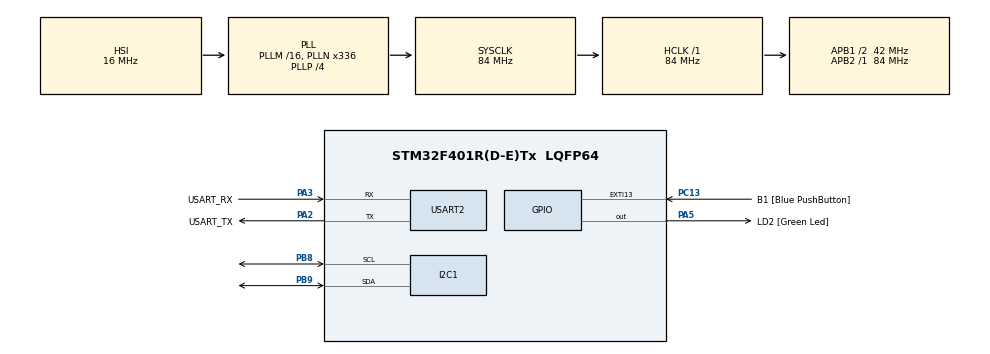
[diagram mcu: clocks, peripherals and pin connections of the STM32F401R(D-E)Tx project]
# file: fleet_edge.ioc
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Mcu.Family=STM32F4
Mcu.Name=STM32F401R(D-E)Tx
Mcu.Package=LQFP64
NVIC.PriorityGroup=NVIC_PRIORITYGROUP_4
PA13.GPIO_Label=TMS
PA13.Mode=Trace_Asynchronous_SW
PA13.Signal=SYS_JTMS-SWDIO
PA14.GPIO_Label=TCK
PA14.Mode=Trace_Asynchronous_SW
PA14.Signal=SYS_JTCK-SWCLK
PA2.GPIO_Label=USART_TX
PA2.GPIO_Mode=GPIO_MODE_AF_PP
PA2.GPIO_PuPd=GPIO_NOPULL
PA2.GPIO_Speed=GPIO_SPEED_FREQ_LOW
PA2.Mode=Asynchronous
PA2.Signal=USART2_TX
PA3.GPIO_Label=USART_RX
PA3.GPIO_Mode=GPIO_MODE_AF_PP
PA3.GPIO_PuPd=GPIO_NOPULL
PA3.GPIO_Speed=GPIO_SPEED_FREQ_LOW
PA3.Mode=Asynchronous
PA3.Signal=USART2_RX
PA5.GPIO_Label=LD2 [Green Led]
PA5.GPIO_Mode=GPIO_MODE_OUTPUT_PP
PA5.GPIO_PuPd=GPIO_NOPULL
PA5.GPIO_Speed=GPIO_SPEED_FREQ_LOW
PA5.Signal=GPIO_Output
PB3.GPIO_Label=SWO
PB3.Mode=Trace_Asynchronous_SW
PB3.Signal=SYS_JTDO-SWO
PB8.Mode=I2C
PB8.Signal=I2C1_SCL
PB9.Mode=I2C
PB9.Signal=I2C1_SDA
PC13-ANTI_TAMP.GPIO_Label=B1 [Blue PushButton]
PC13-ANTI_TAMP.GPIO_ModeDefaultEXTI=GPIO_MODE_IT_FALLING
PC13-ANTI_TAMP.GPIO_PuPd=GPIO_NOPULL
PC13-ANTI_TAMP.Signal=GPXTI13
PC14-OSC32_IN.Mode=LSE-External-Oscillator
PC14-OSC32_IN.Signal=RCC_OSC32_IN
PC15-OSC32_OUT.Mode=LSE-External-Oscillator
PC15-OSC32_OUT.Signal=RCC_OSC32_OUT
PH0\ -\ OSC_IN.Mode=HSE-External-Clock-Source
PH0\ -\ OSC_IN.Signal=RCC_OSC_IN
PH1\ -\ OSC_OUT.Mode=HSE-External-Clock-Source
PH1\ -\ OSC_OUT.Signal=RCC_OSC_OUT
ProjectManager.HeapSize=0x200
ProjectManager.StackSize=0x400
ProjectManager.TargetToolchain=STM32CubeIDE
RCC.48MHZClocksFreq_Value=48000000
RCC.AHBFreq_Value=84000000
RCC.APB1CLKDivider=RCC_HCLK_DIV2
RCC.APB1Freq_Value=42000000
RCC.APB1TimFreq_Value=84000000
RCC.APB2Freq_Value=84000000
RCC.APB2TimFreq_Value=84000000
RCC.CortexFreq_Value=84000000
RCC.HCLKFreq_Value=84000000
RCC.HSE_VALUE=8000000
RCC.HSI_VALUE=16000000
RCC.PLLN=336
RCC.PLLP=RCC_PLLP_DIV4
RCC.PLLQ=7
RCC.SYSCLKFreq_VALUE=84000000
RCC.SYSCLKSource=RCC_SYSCLKSOURCE_PLLCLK
RCC.VCOOutputFreq_Value=336000000
USART2.VirtualMode=VM_ASYNC
board=NUCLEO-F401RE

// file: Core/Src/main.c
/* USER CODE BEGIN Header */
/**
  ******************************************************************************
  * @file           : main.c
  * @brief          : Main program body
  ******************************************************************************
  * @attention
  *
  * Copyright (c) 2026 STMicroelectronics.
  * All rights reserved.
  *
  * This software is licensed under terms that can be found in the LICENSE file
  * in the root directory of this software component.
  * If no LICENSE file comes with this software, it is provided AS-IS.
  *
  ******************************************************************************
  */
/* USER CODE END Header */
#include "main.h"

/* USER CODE BEGIN Includes */
#include "bme280.h"   /* vendored BME280 driver: NVM calib + Bosch compensation */
/* USER CODE END Includes */

/* USER CODE BEGIN PD */
/* The "MPU-6050" GY-521 breakout is actually populated with an MPU-6500
   (WHO_AM_I reads 0x70, not the 6050's 0x68) - a common substitution on
   cheap modules. The MPU-6500 is register-map compatible for everything we
   do: same 7-bit address (0x68), same PWR_MGMT_1 sleep bit, and identical
   accel/gyro sensitivity scale factors, so the sampling/conversion code is
   unchanged. (The two parts' on-die temperature formulas differ, but that
   doesn't affect us - telemetry temperature comes from the BME280, not the
   IMU.) */
#define MPU6500_I2C_ADDR    (0x68 << 1)  /* 7-bit 0x68, HAL wants it << 1 */
#define MPU6500_REG_WHOAMI  0x75U
#define MPU6500_WHOAMI_ID   0x70U        /* MPU-6500 (an MPU-6050 reads 0x68) */
#define MPU6500_I2C_TIMEOUT 100U         /* ms */
#define MPU6500_REG_PWR_MGMT_1   0x6BU   /* write 0x00 to clear SLEEP on boot */
#define MPU6500_REG_ACCEL_XOUT_H 0x3BU   /* first of the 14 burst data bytes */
#define MPU6500_BURST_LEN        14U     /* accel(6) + temp(2) + gyro(6) */
#define MPU6500_ACCEL_SENS       16384.0f/* LSB per g,   default +/-2 g   range */
#define MPU6500_GYRO_SENS        131.0f  /* LSB per dps, default +/-250 dps range */
/* On-chip Digital Low-Pass Filter config. Left at reset defaults the gyro runs
   at ~250 Hz bandwidth and passes all its broadband noise straight through; at
   our 10 Hz telemetry rate we want none of that. Writing CONFIG selects a
   ~41 Hz gyro cutoff and ACCEL_CONFIG2 a ~44 Hz accel cutoff. (DLPF is enabled
   only while FCHOICE_B = 0, which is the reset state of GYRO_CONFIG, so we don't
   touch that register.) */
#define MPU6500_REG_CONFIG        0x1AU  /* gyro/temp DLPF_CFG in bits [2:0] */
#define MPU6500_REG_ACCEL_CONFIG2 0x1DU  /* accel A_DLPF_CFG in bits [2:0] */
#define MPU6500_DLPF_CFG_41HZ     0x03U  /* gyro  DLPF ~41 Hz */
#define MPU6500_ADLPF_CFG_44HZ    0x03U  /* accel DLPF ~44 Hz */
/* Gyro zero-rate calibration: samples averaged at boot while the board is still. */
#define MPU6500_GYRO_CAL_SAMPLES  200U
/* Sanity bound on the computed bias: a real zero-rate offset is only a few dps,
   so anything past ~20 dps of raw counts means the average was contaminated
   (motion, or a start-up transient railing an axis). Reject it and leave that
   axis uncorrected rather than baking in garbage. 20 dps * 131 LSB/dps ~= 2620. */
#define MPU6500_GYRO_BIAS_MAX_CNT 2620

/* BME280 chip-ID sanity check: genuine BME280 reports 0x60 in its id register.
   A BMP280 reports 0x58 and has NO humidity sensor, so it would silently break
   the humidity telemetry field - verify the part before trusting it. */
#define BME280_I2C_ADDR     (0x76 << 1)  /* 7-bit 0x76, HAL wants it << 1 */
#define BME280_REG_ID       0xD0U
#define BME280_CHIP_ID      0x60U        /* BME280 (a BMP280 reads 0x58) */
#define BME280_I2C_TIMEOUT  100U         /* ms */

/* --- Sampling + telemetry (Chunks 7-8) -------------------------------------*/
#define SAMPLE_PERIOD_MS       100U   /* default sampling cadence (10 Hz); OTA-tunable at runtime */
#define SAMPLE_HZ_MIN          1U     /* accepted set_rate bounds -> period 20..1000 ms */
#define SAMPLE_HZ_MAX          50U
#define HEARTBEAT_LED_MS       500U   /* LD2 blink half-period, independent of sampling */
#define HEARTBEAT_MSG_MS       5000U  /* "I'm alive" telemetry line interval (liveness) */
#define TELEMETRY_UART_TIMEOUT 100U   /* ms to push one JSON line over UART */
#define TELEMETRY_LINE_MAX     200U   /* max bytes in one JSON telemetry line */
#define DEVICE_ID              "fleet-edge-01"   /* this node's stable fleet identity */
/* USER CODE END PD */

I2C_HandleTypeDef hi2c1;

UART_HandleTypeDef huart2;

/* USER CODE BEGIN PV */
/* Latest IMU sample. File-scope (not locals in main) so the debugger's Live
   Expressions can resolve them while the target is running - a stack local has
   no fixed address to read live. volatile keeps each new sample from being
   optimized away before the JSON telemetry chunk consumes it. */
volatile int16_t ax, ay, az, gx, gy, gz;      /* raw signed 16-bit counts */
volatile float   ax_g, ay_g, az_g;            /* acceleration, g */
volatile float   gx_dps, gy_dps, gz_dps;      /* angular rate, deg/s */
volatile int16_t gx_off, gy_off, gz_off;      /* gyro zero-rate bias, raw counts */
volatile uint32_t seq;                        /* monotonic telemetry sequence number */

/* Latest BME280 environmental sample, in engineering units. File-scope for the
   same Live Expressions reason as the IMU globals above. The driver's per-chip
   calibration lives in bme280 (filled once at init), not here. */
BME280_t bme280;
volatile float temp_c;      /* degrees Celsius */
volatile float pressure_hpa;/* hectopascals (== mbar) */
volatile float humidity_pct;/* %RH */

/* OTA downlink command state. The RX ISR assembles a line and hands it to the main loop via
   cmd_pending; the loop parses, applies, and acks (parsing stays out of interrupt context). */
volatile uint32_t cmd_rx_lines;   /* complete commands received */
volatile uint32_t cmd_applied;    /* commands parsed + applied */
volatile uint8_t  cmd_pending;    /* 1 = cmd_line holds a line awaiting the main loop */
char cmd_line[96];                /* ISR -> main handoff: the pending command line */
volatile uint32_t sample_period_ms = SAMPLE_PERIOD_MS;  /* live sample/telemetry period, set by set_rate */
/* USER CODE END PV */

void SystemClock_Config(void);
static void MX_GPIO_Init(void);
static void MX_USART2_UART_Init(void);
static void MX_I2C1_Init(void);
/* USER CODE BEGIN PFP */
void Cmd_RxByte(uint8_t b);          /* USART2 ISR -> assemble one downlink line */
static void Cmd_Apply(const char *line);  /* main loop -> parse + apply + ack */
/* USER CODE END PFP */

/* USER CODE BEGIN 0 */
#include <stdio.h>   /* snprintf */
#include <string.h>  /* strstr, strlen, memcpy */
#include <stdlib.h>  /* strtol */

/* Recover a wedged I2C bus. After a WARM reset (debugger restart / reset button)
   the STM32 restarts but the sensors do not; one left mid-transfer can keep
   holding SDA low, jamming the bus so every HAL read times out (this is the
   startup hang we hit). The standard fix: drive SCL manually as a GPIO and clock
   out up to 9 pulses until the slave releases SDA, issue a STOP, then re-init the
   peripheral. PB8 = SCL, PB9 = SDA (see HAL_I2C_MspInit). */
static void I2C1_BusRecover(void)
{
  GPIO_InitTypeDef gpio = {0};

  HAL_I2C_DeInit(&hi2c1);            /* hand PB8/PB9 back from the I2C peripheral */
  __HAL_RCC_GPIOB_CLK_ENABLE();

  gpio.Mode  = GPIO_MODE_OUTPUT_OD;  /* open-drain, like a real I2C line */
  gpio.Pull  = GPIO_NOPULL;          /* the sensor modules carry the pull-ups */
  gpio.Speed = GPIO_SPEED_FREQ_LOW;
  gpio.Pin   = GPIO_PIN_8 | GPIO_PIN_9;
  HAL_GPIO_Init(GPIOB, &gpio);
  HAL_GPIO_WritePin(GPIOB, GPIO_PIN_8 | GPIO_PIN_9, GPIO_PIN_SET); /* idle high */

  /* Pulse SCL until SDA is released (max 9 = one byte + ack). */
  for (int i = 0; i < 9 && HAL_GPIO_ReadPin(GPIOB, GPIO_PIN_9) == GPIO_PIN_RESET; i++)
  {
    HAL_GPIO_WritePin(GPIOB, GPIO_PIN_8, GPIO_PIN_RESET);
    HAL_Delay(1);
    HAL_GPIO_WritePin(GPIOB, GPIO_PIN_8, GPIO_PIN_SET);
    HAL_Delay(1);
  }

  /* Generate a STOP: SDA rises while SCL is high. */
  HAL_GPIO_WritePin(GPIOB, GPIO_PIN_9, GPIO_PIN_RESET);
  HAL_Delay(1);
  HAL_GPIO_WritePin(GPIOB, GPIO_PIN_8, GPIO_PIN_SET);
  HAL_Delay(1);
  HAL_GPIO_WritePin(GPIOB, GPIO_PIN_9, GPIO_PIN_SET);
  HAL_Delay(1);

  MX_I2C1_Init();                    /* re-init peripheral; restores PB8/PB9 to AF */
}

/* Format a float as a fixed-decimal string WITHOUT floating-point printf.
   newlib-nano omits %f by default (and pulling it in bloats a constrained MCU),
   so we split the value into an integer part and a zero-padded fractional part
   and print those with plain %ld. Returns bytes written (snprintf semantics). */
static int fmt_fixed(char *buf, size_t n, float v, int decimals)
{
  int neg = (v < 0.0f);
  if (neg) { v = -v; }
  int32_t mul = 1;
  for (int i = 0; i < decimals; i++) { mul *= 10; }
  int32_t scaled = (int32_t)(v * (float)mul + 0.5f);   /* round to N decimals */
  int32_t whole  = scaled / mul;
  int32_t frac   = scaled % mul;
  return snprintf(buf, n, "%s%ld.%0*ld", neg ? "-" : "", (long)whole, decimals, (long)frac);
}

/* Frame the latest sample as ONE newline-delimited JSON object and push it over
   UART. Newline-delimited JSON (NDJSON) = one complete JSON value per line, '\n'
   as the record separator - so the gateway can split the stream on newlines and
   know each line is a whole message. */
static void Telemetry_Emit(void)
{
  char line[TELEMETRY_LINE_MAX];
  char st[12], sh[12], sp[12];                 /* temp, humidity, pressure */
  char sax[12], say[12], saz[12];              /* accel, g */
  char sgx[12], sgy[12], sgz[12];              /* gyro, dps */

  fmt_fixed(st,  sizeof st,  temp_c,       2);
  fmt_fixed(sh,  sizeof sh,  humidity_pct, 2);
  fmt_fixed(sp,  sizeof sp,  pressure_hpa, 2);
  fmt_fixed(sax, sizeof sax, ax_g, 3);
  fmt_fixed(say, sizeof say, ay_g, 3);
  fmt_fixed(saz, sizeof saz, az_g, 3);
  fmt_fixed(sgx, sizeof sgx, gx_dps, 2);
  fmt_fixed(sgy, sizeof sgy, gy_dps, 2);
  fmt_fixed(sgz, sizeof sgz, gz_dps, 2);

  int len = snprintf(line, sizeof line,
      "{\"id\":\"%s\",\"type\":\"telemetry\",\"seq\":%lu,\"ts\":%lu,"
      "\"temp\":%s,\"humidity\":%s,\"pressure\":%s,"
      "\"ax\":%s,\"ay\":%s,\"az\":%s,"
      "\"gx\":%s,\"gy\":%s,\"gz\":%s}\r\n",
      DEVICE_ID, (unsigned long)seq, (unsigned long)HAL_GetTick(),
      st, sh, sp, sax, say, saz, sgx, sgy, sgz);

  if (len > 0)
  {
    HAL_UART_Transmit(&huart2, (uint8_t *)line, (uint16_t)len, TELEMETRY_UART_TIMEOUT);
    seq++;   /* advance only after a line is framed (monotonic per message) */
  }
}

/* Emit a heartbeat line: a payload-free "I'm alive" message on its own fixed
   cadence. It shares the monotonic seq with telemetry (so any gap in the merged
   stream = a lost line) and carries the uptime (ts). Its job is liveness that is
   independent of sensor data - if telemetry stalls but heartbeats keep coming,
   the device and link are fine and the fault is upstream in the sensor path. */
static void Heartbeat_Emit(void)
{
  char line[TELEMETRY_LINE_MAX];
  int len = snprintf(line, sizeof line,
      "{\"id\":\"%s\",\"type\":\"heartbeat\",\"seq\":%lu,\"ts\":%lu}\r\n",
      DEVICE_ID, (unsigned long)seq, (unsigned long)HAL_GetTick());
  if (len > 0)
  {
    HAL_UART_Transmit(&huart2, (uint8_t *)line, (uint16_t)len, TELEMETRY_UART_TIMEOUT);
    seq++;
  }
}
/* USER CODE END 0 */

int main(void)
{

  /* USER CODE BEGIN 1 */
  uint8_t who_am_i = 0;              /* raw WHO_AM_I byte read back from the MPU */
  HAL_StatusTypeDef whoami_status;   /* result of the I2C read */
  uint8_t bme_id = 0;                /* raw chip-ID byte read back from the BME280 */
  HAL_StatusTypeDef bme_id_status;   /* result of the I2C read */
  uint8_t mpu_wake = 0x00;           /* value written to PWR_MGMT_1 to clear SLEEP */
  uint8_t mpu_dlpf;                  /* DLPF config byte written to CONFIG/ACCEL_CONFIG2 */
  int32_t gx_sum = 0, gy_sum = 0, gz_sum = 0; /* gyro-bias calibration accumulators */
  uint16_t gx_n = 0, gy_n = 0, gz_n = 0;      /* count of accepted (non-railed) samples */
  uint8_t imu_raw[MPU6500_BURST_LEN];/* one atomic burst: accel, temp, gyro */
  HAL_StatusTypeDef imu_status;      /* result of each sampling read */
  uint32_t last_sample = 0;          /* SysTick ms of the last sample tick */
  uint32_t last_led = 0;             /* SysTick ms of the last LED toggle */
  uint32_t last_hb = 0;              /* SysTick ms of the last heartbeat line */
  /* ax..gz and the g/dps outputs are file-scope globals (see PV) so Live
     Expressions can watch them while the target runs. */
  /* USER CODE END 1 */

  /* MCU Configuration--------------------------------------------------------*/

  /* Reset of all peripherals, Initializes the Flash interface and the Systick. */
  HAL_Init();

  /* Configure the system clock */
  SystemClock_Config();

  /* Initialize all configured peripherals */
  MX_GPIO_Init();
  MX_USART2_UART_Init();
  MX_I2C1_Init();
  /* USER CODE BEGIN 2 */
  /* Clear any bus lockup left by a warm reset before the first transaction. */
  I2C1_BusRecover();

  /* Read the MPU-6500 WHO_AM_I register as an I2C sanity check (expect 0x70). */
  whoami_status = HAL_I2C_Mem_Read(&hi2c1,
                                   MPU6500_I2C_ADDR,
                                   MPU6500_REG_WHOAMI,
                                   I2C_MEMADD_SIZE_8BIT,
                                   &who_am_i,
                                   1,
                                   MPU6500_I2C_TIMEOUT);
  if (whoami_status != HAL_OK || who_am_i != MPU6500_WHOAMI_ID)
  {
    Error_Handler();
  }

  /* Read the BME280 chip-ID register as an I2C sanity check (expect 0x60). */
  bme_id_status = HAL_I2C_Mem_Read(&hi2c1,
                                   BME280_I2C_ADDR,
                                   BME280_REG_ID,
                                   I2C_MEMADD_SIZE_8BIT,
                                   &bme_id,
                                   1,
                                   BME280_I2C_TIMEOUT);
  if (bme_id_status != HAL_OK || bme_id != BME280_CHIP_ID)
  {
    Error_Handler();
  }

  /* Wake the MPU-6500: on power-up SLEEP is set and the data registers never
     update. Writing 0x00 to PWR_MGMT_1 clears SLEEP and selects the internal
     clock. Must succeed, so fail closed like the ID checks. */
  if (HAL_I2C_Mem_Write(&hi2c1,
                        MPU6500_I2C_ADDR,
                        MPU6500_REG_PWR_MGMT_1,
                        I2C_MEMADD_SIZE_8BIT,
                        &mpu_wake,
                        1,
                        MPU6500_I2C_TIMEOUT) != HAL_OK)
  {
    Error_Handler();
  }

  /* Set the gyro/temp and accel Digital Low-Pass Filters. Without this the gyro
     runs wide-open (~250 Hz bandwidth) and dumps broadband noise into every
     sample; a ~41/44 Hz cutoff keeps the real (slow) motion and drops the
     high-frequency jitter. Fail closed like the ID checks. */
  mpu_dlpf = MPU6500_DLPF_CFG_41HZ;
  if (HAL_I2C_Mem_Write(&hi2c1, MPU6500_I2C_ADDR, MPU6500_REG_CONFIG,
                        I2C_MEMADD_SIZE_8BIT, &mpu_dlpf, 1,
                        MPU6500_I2C_TIMEOUT) != HAL_OK)
  {
    Error_Handler();
  }
  mpu_dlpf = MPU6500_ADLPF_CFG_44HZ;
  if (HAL_I2C_Mem_Write(&hi2c1, MPU6500_I2C_ADDR, MPU6500_REG_ACCEL_CONFIG2,
                        I2C_MEMADD_SIZE_8BIT, &mpu_dlpf, 1,
                        MPU6500_I2C_TIMEOUT) != HAL_OK)
  {
    Error_Handler();
  }

  /* Gyro zero-rate calibration. A MEMS gyro reads a nonzero constant even when
     perfectly still (the bias we saw as gx ~ 6.77 dps). With the board held
     still at boot, average a batch of samples per axis - that mean IS the bias -
     then subtract it from every later reading. Accel is left alone: gravity is
     its built-in reference.
     Two requirements for a clean offset: (1) the board must be MOTIONLESS for
     the whole window - any movement leaks into the mean; (2) let the gyro settle
     first, since it has a start-up transient right after wake/DLPF-config that
     would otherwise skew the early samples. */
  HAL_Delay(100);  /* let the gyro clear its power-on transient before sampling.
                      Note this does NOT remove the ~0.7 dps residual on gx: that's
                      thermal bias drift (we calibrate cold, the die then warms and
                      the bias creeps), which a one-shot boot calibration can't
                      track. Sub-1 dps at rest is a healthy stationary gyro. */
  for (uint16_t i = 0; i < MPU6500_GYRO_CAL_SAMPLES; i++)
  {
    if (HAL_I2C_Mem_Read(&hi2c1, MPU6500_I2C_ADDR, MPU6500_REG_ACCEL_XOUT_H,
                         I2C_MEMADD_SIZE_8BIT, imu_raw, MPU6500_BURST_LEN,
                         MPU6500_I2C_TIMEOUT) == HAL_OK)
    {
      int16_t rgx = (int16_t)((imu_raw[8]  << 8) | imu_raw[9]);
      int16_t rgy = (int16_t)((imu_raw[10] << 8) | imu_raw[11]);
      int16_t rgz = (int16_t)((imu_raw[12] << 8) | imu_raw[13]);
      /* Reject railed/outlier samples per axis BEFORE averaging: a real at-rest
         reading is well under the bias bound, so anything past it is a start-up
         transient or a bump, not bias. This is what let gy railing poison the
         old whole-window average and get the axis zeroed - now we just drop
         those samples and keep gy's true ~1 dps offset. */
      if (rgx < MPU6500_GYRO_BIAS_MAX_CNT && rgx > -MPU6500_GYRO_BIAS_MAX_CNT) { gx_sum += rgx; gx_n++; }
      if (rgy < MPU6500_GYRO_BIAS_MAX_CNT && rgy > -MPU6500_GYRO_BIAS_MAX_CNT) { gy_sum += rgy; gy_n++; }
      if (rgz < MPU6500_GYRO_BIAS_MAX_CNT && rgz > -MPU6500_GYRO_BIAS_MAX_CNT) { gz_sum += rgz; gz_n++; }
    }
    HAL_Delay(2);
  }
  /* Average only the accepted samples. If an axis had none (railed the whole
     window), fall back to no correction - a bad calibration is worse than none. */
  gx_off = gx_n ? (int16_t)(gx_sum / gx_n) : 0;
  gy_off = gy_n ? (int16_t)(gy_sum / gy_n) : 0;
  gz_off = gz_n ? (int16_t)(gz_sum / gz_n) : 0;

  /* Initialize the BME280 once: the driver reads the chip's factory NVM
     calibration and configures oversampling x1 + normal (continuous) mode.
     Unlike the MPU, we can't just scale raw counts - every BME is individually
     trimmed, so this calibration read is mandatory before any reading is valid.
     Fail closed like the ID checks. */
  if (BME280_Init(&bme280, &hi2c1, BME280_I2C_ADDR) != HAL_OK)
  {
    Error_Handler();
  }

  /* Raise the USART2 RXNE interrupt for the downlink. A bare RXNE handler (not HAL's
     IT-receive) so it never contends the handle lock with the polling telemetry TX. */
  __HAL_UART_ENABLE_IT(&huart2, UART_IT_RXNE);
  HAL_NVIC_SetPriority(USART2_IRQn, 5, 0);
  HAL_NVIC_EnableIRQ(USART2_IRQn);
  /* USER CODE END 2 */

  /* Infinite loop */
  while (1)
  {

    /* USER CODE BEGIN 3 */
    /* Non-blocking scheduler: instead of a HAL_Delay spin (which parks the CPU
       and makes timing drift with how long the body takes), we poll the SysTick
       millisecond counter (HAL_GetTick) and fire each task when its period is
       due. The (uint32_t) subtraction is wrap-around safe. */
    uint32_t now = HAL_GetTick();

    /* Apply any downlink command the RX ISR handed over. Done here, not in the ISR,
       so parsing and the blocking ack TX never run in interrupt context. */
    if (cmd_pending)
    {
      uint32_t prev_period = sample_period_ms;
      Cmd_Apply(cmd_line);
      cmd_pending = 0;                  /* release the buffer back to the ISR */
      if (sample_period_ms != prev_period)
        last_sample = now;             /* re-anchor so a rate change can't burst catch-up */
    }

    /* Heartbeat LED - a separate cadence so a stalled sensor read never freezes
       the "I'm alive" signal. */
    if ((uint32_t)(now - last_led) >= HEARTBEAT_LED_MS)
    {
      last_led += HEARTBEAT_LED_MS;
      HAL_GPIO_TogglePin(LD2_GPIO_Port, LD2_Pin);
    }

    /* Heartbeat line - its own cadence, independent of sampling, so it keeps
       proving liveness even if a sensor read stalls the telemetry path. */
    if ((uint32_t)(now - last_hb) >= HEARTBEAT_MSG_MS)
    {
      last_hb += HEARTBEAT_MSG_MS;
      Heartbeat_Emit();
    }

    /* Sampling at sample_period_ms (10 Hz default, live-tunable by set_rate). Advancing
       last_sample by exactly one period (not "= now") keeps the average rate locked to
       the tick, so it doesn't drift with body execution time. */
    if ((uint32_t)(now - last_sample) >= sample_period_ms)
    {
      last_sample += sample_period_ms;

      /* Sample the IMU: one 14-byte burst from ACCEL_XOUT_H (the MPU auto-
         increments its register pointer), split each high/low pair into a
         signed count, subtract the gyro bias, and scale to engineering units. */
      imu_status = HAL_I2C_Mem_Read(&hi2c1,
                                    MPU6500_I2C_ADDR,
                                    MPU6500_REG_ACCEL_XOUT_H,
                                    I2C_MEMADD_SIZE_8BIT,
                                    imu_raw,
                                    MPU6500_BURST_LEN,
                                    MPU6500_I2C_TIMEOUT);
      if (imu_status == HAL_OK)
      {
        ax = (int16_t)((imu_raw[0]  << 8) | imu_raw[1]);
        ay = (int16_t)((imu_raw[2]  << 8) | imu_raw[3]);
        az = (int16_t)((imu_raw[4]  << 8) | imu_raw[5]);
        /* imu_raw[6..7] = on-die temperature, unused (telemetry temp is BME280's). */
        gx = (int16_t)(((int16_t)((imu_raw[8]  << 8) | imu_raw[9]))  - gx_off);
        gy = (int16_t)(((int16_t)((imu_raw[10] << 8) | imu_raw[11])) - gy_off);
        gz = (int16_t)(((int16_t)((imu_raw[12] << 8) | imu_raw[13])) - gz_off);

        ax_g = ax / MPU6500_ACCEL_SENS;
        ay_g = ay / MPU6500_ACCEL_SENS;
        az_g = az / MPU6500_ACCEL_SENS;
        gx_dps = gx / MPU6500_GYRO_SENS;
        gy_dps = gy / MPU6500_GYRO_SENS;
        gz_dps = gz / MPU6500_GYRO_SENS;
      }
      /* A dropped sample leaves the previous values in place for now; proper
         error handling / degraded state lands in a later chunk. */

      /* Sample the BME280: the driver burst-reads the raw registers and runs the
         per-chip compensation, handing back real units. */
      float t, p, h;
      if (BME280_Read(&bme280, &t, &p, &h) == HAL_OK)
      {
        temp_c       = t;
        pressure_hpa = p;
        humidity_pct = h;
      }

      /* Frame this sample as one NDJSON line and stream it over UART. */
      Telemetry_Emit();
    }
  }
  /* USER CODE END 3 */
}

void SystemClock_Config(void)
{
  RCC_OscInitTypeDef RCC_OscInitStruct = {0};
  RCC_ClkInitTypeDef RCC_ClkInitStruct = {0};

  /** Configure the main internal regulator output voltage
  */
  __HAL_RCC_PWR_CLK_ENABLE();
  __HAL_PWR_VOLTAGESCALING_CONFIG(PWR_REGULATOR_VOLTAGE_SCALE2);

  /** Initializes the RCC Oscillators according to the specified parameters
  * in the RCC_OscInitTypeDef structure.
  */
  RCC_OscInitStruct.OscillatorType = RCC_OSCILLATORTYPE_HSI;
  RCC_OscInitStruct.HSIState = RCC_HSI_ON;
  RCC_OscInitStruct.HSICalibrationValue = RCC_HSICALIBRATION_DEFAULT;
  RCC_OscInitStruct.PLL.PLLState = RCC_PLL_ON;
  RCC_OscInitStruct.PLL.PLLSource = RCC_PLLSOURCE_HSI;
  RCC_OscInitStruct.PLL.PLLM = 16;
  RCC_OscInitStruct.PLL.PLLN = 336;
  RCC_OscInitStruct.PLL.PLLP = RCC_PLLP_DIV4;
  RCC_OscInitStruct.PLL.PLLQ = 7;
  if (HAL_RCC_OscConfig(&RCC_OscInitStruct) != HAL_OK)
  {
    Error_Handler();
  }

  /** Initializes the CPU, AHB and APB buses clocks
  */
  RCC_ClkInitStruct.ClockType = RCC_CLOCKTYPE_HCLK|RCC_CLOCKTYPE_SYSCLK
                              |RCC_CLOCKTYPE_PCLK1|RCC_CLOCKTYPE_PCLK2;
  RCC_ClkInitStruct.SYSCLKSource = RCC_SYSCLKSOURCE_PLLCLK;
  RCC_ClkInitStruct.AHBCLKDivider = RCC_SYSCLK_DIV1;
  RCC_ClkInitStruct.APB1CLKDivider = RCC_HCLK_DIV2;
  RCC_ClkInitStruct.APB2CLKDivider = RCC_HCLK_DIV1;

  if (HAL_RCC_ClockConfig(&RCC_ClkInitStruct, FLASH_LATENCY_2) != HAL_OK)
  {
    Error_Handler();
  }
}

static void MX_I2C1_Init(void)
{

  hi2c1.Instance = I2C1;
  hi2c1.Init.ClockSpeed = 100000;
  hi2c1.Init.DutyCycle = I2C_DUTYCYCLE_2;
  hi2c1.Init.OwnAddress1 = 0;
  hi2c1.Init.AddressingMode = I2C_ADDRESSINGMODE_7BIT;
  hi2c1.Init.DualAddressMode = I2C_DUALADDRESS_DISABLE;
  hi2c1.Init.OwnAddress2 = 0;
  hi2c1.Init.GeneralCallMode = I2C_GENERALCALL_DISABLE;
  hi2c1.Init.NoStretchMode = I2C_NOSTRETCH_DISABLE;
  if (HAL_I2C_Init(&hi2c1) != HAL_OK)
  {
    Error_Handler();
  }

}

static void MX_USART2_UART_Init(void)
{

  huart2.Instance = USART2;
  huart2.Init.BaudRate = 115200;
  huart2.Init.WordLength = UART_WORDLENGTH_8B;
  huart2.Init.StopBits = UART_STOPBITS_1;
  huart2.Init.Parity = UART_PARITY_NONE;
  huart2.Init.Mode = UART_MODE_TX_RX;
  huart2.Init.HwFlowCtl = UART_HWCONTROL_NONE;
  huart2.Init.OverSampling = UART_OVERSAMPLING_16;
  if (HAL_UART_Init(&huart2) != HAL_OK)
  {
    Error_Handler();
  }

}

static void MX_GPIO_Init(void)
{
  GPIO_InitTypeDef GPIO_InitStruct = {0};

  /* GPIO Ports Clock Enable */
  __HAL_RCC_GPIOC_CLK_ENABLE();
  __HAL_RCC_GPIOH_CLK_ENABLE();
  __HAL_RCC_GPIOA_CLK_ENABLE();
  __HAL_RCC_GPIOB_CLK_ENABLE();

  /*Configure GPIO pin Output Level */
  HAL_GPIO_WritePin(LD2_GPIO_Port, LD2_Pin, GPIO_PIN_RESET);

  /*Configure GPIO pin : B1_Pin */
  GPIO_InitStruct.Pin = B1_Pin;
  GPIO_InitStruct.Mode = GPIO_MODE_IT_FALLING;
  GPIO_InitStruct.Pull = GPIO_NOPULL;
  HAL_GPIO_Init(B1_GPIO_Port, &GPIO_InitStruct);

  /*Configure GPIO pin : LD2_Pin */
  GPIO_InitStruct.Pin = LD2_Pin;
  GPIO_InitStruct.Mode = GPIO_MODE_OUTPUT_PP;
  GPIO_InitStruct.Pull = GPIO_NOPULL;
  GPIO_InitStruct.Speed = GPIO_SPEED_FREQ_LOW;
  HAL_GPIO_Init(LD2_GPIO_Port, &GPIO_InitStruct);

}

/* USER CODE BEGIN 4 */
/* Minimal JSON scanning. The gateway re-frames every downlink as compact NDJSON (no spaces),
   so exact-substring matching is enough - no JSON parser pulled onto the MCU. */
static int json_str_is(const char *s, const char *key, const char *val)
{
  char pat[40];
  snprintf(pat, sizeof pat, "\"%s\":\"%s\"", key, val);
  return strstr(s, pat) != NULL;
}

static long json_int(const char *s, const char *key, long dflt)
{
  char pat[24];
  snprintf(pat, sizeof pat, "\"%s\":", key);
  const char *p = strstr(s, pat);
  if (p == NULL)
    return dflt;
  p += strlen(pat);
  char *end;
  long v = strtol(p, &end, 10);
  return (end == p) ? dflt : v;
}

/* Ack a command back up the same UART/telemetry path so the control loop is observable.
   Shares the monotonic seq, so a dropped ack still shows up as a gap downstream. */
static void Ack_Emit(const char *cmd, int ok, long hz)
{
  char line[TELEMETRY_LINE_MAX];
  int len = snprintf(line, sizeof line,
      "{\"id\":\"%s\",\"type\":\"ack\",\"seq\":%lu,\"ts\":%lu,"
      "\"cmd\":\"%s\",\"ok\":%s,\"hz\":%ld}\r\n",
      DEVICE_ID, (unsigned long)seq, (unsigned long)HAL_GetTick(),
      cmd, ok ? "true" : "false", hz);
  if (len > 0)
  {
    HAL_UART_Transmit(&huart2, (uint8_t *)line, (uint16_t)len, TELEMETRY_UART_TIMEOUT);
    seq++;
  }
}

/* Parse one downlink command, apply it, and ack. Runs in the main loop, so the blocking
   ack TX is safe here. set_rate is idempotent: re-applying the same rate lands the same
   period, so a re-sent command (e.g. a retrying controller) is harmless. */
static void Cmd_Apply(const char *line)
{
  if (json_str_is(line, "cmd", "set_rate"))
  {
    long hz = json_int(line, "hz", 0);
    if (hz >= SAMPLE_HZ_MIN && hz <= SAMPLE_HZ_MAX)
    {
      sample_period_ms = 1000UL / (uint32_t)hz;
      cmd_applied++;
      Ack_Emit("set_rate", 1, hz);
    }
    else
    {
      Ack_Emit("set_rate", 0, hz);          /* out of range: rejected, still acked */
    }
  }
  else if (json_str_is(line, "cmd", "reboot"))
  {
    Ack_Emit("reboot", 1, 0);               /* blocking TX flushes before the reset */
    NVIC_SystemReset();
  }
  else
  {
    Ack_Emit("unknown", 0, 0);
  }
}

/* Assemble a downlink line in the ISR and hand a complete one to the main loop via
   cmd_pending. A private buffer accumulates; cmd_line is written only once the main loop
   has consumed the previous command, so ISR and loop never touch the same bytes (no lock). */
void Cmd_RxByte(uint8_t b)
{
  static char asm_buf[96];
  static uint16_t idx;
  if (b == '\n' || b == '\r')
  {
    if (idx > 0)
    {
      asm_buf[idx] = '\0';
      if (!cmd_pending)
      {
        memcpy(cmd_line, asm_buf, (size_t)idx + 1);
        cmd_rx_lines++;
        cmd_pending = 1;
      }
      idx = 0;
    }
    return;
  }
  if (idx < sizeof asm_buf - 1)
    asm_buf[idx++] = (char)b;
}
/* USER CODE END 4 */

void Error_Handler(void)
{
  __disable_irq();
  while (1)
  {
  }
}
